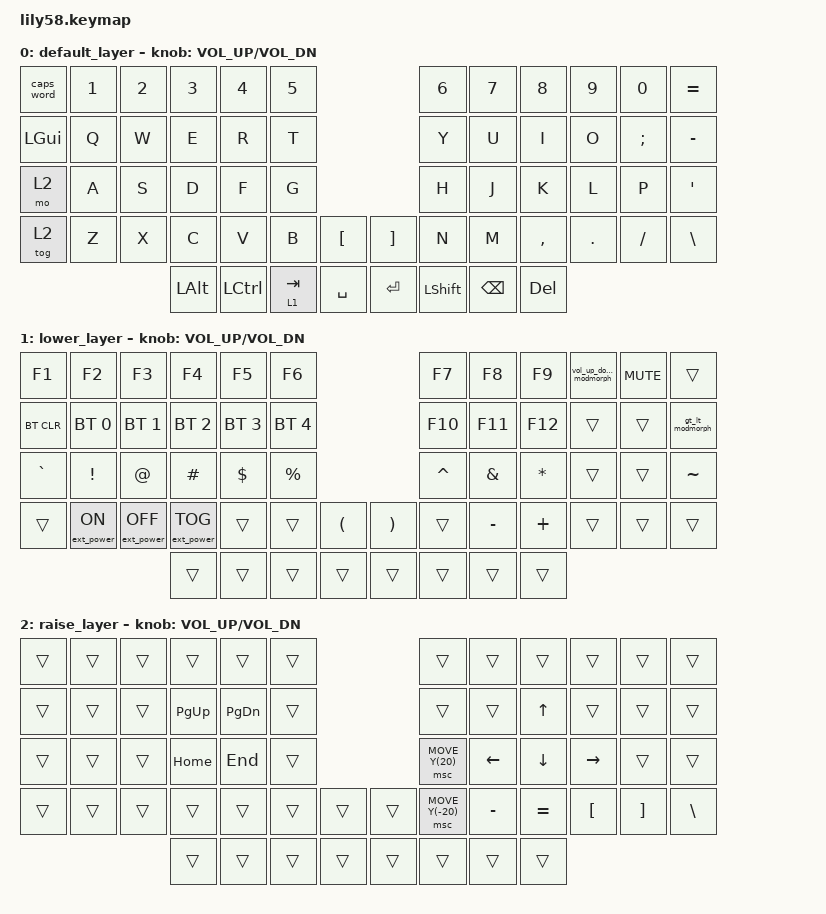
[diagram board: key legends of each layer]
/*
 * Copyright (c) 2020 The ZMK Contributors
 *
 * SPDX-License-Identifier: MIT
 */

#include <behaviors.dtsi>
#include <dt-bindings/zmk/bt.h>
#include <dt-bindings/zmk/ext_power.h>
#include <dt-bindings/zmk/keys.h>
#include <dt-bindings/zmk/pointing.h>

#define ZMK_POINTING_DEFAULT_SCRL_VAL 100

/ {
    combos {
        compatible = "zmk,combos";

        combo_esc {
            timeout-ms = <50>;
            key-positions = <0 1>;
            bindings = <&kp ESC>;
        };
    };

    behaviors {
        gt_lt_modmorph: gt_lt_modmorph {
            compatible = "zmk,behavior-mod-morph";
            label = "GT_LT_MODMORPH";
            bindings = <&kp GREATER_THAN>, <&kp LESS_THAN>;

            #binding-cells = <0>;
            mods = <(MOD_LSFT|MOD_RSFT)>;
        };

        kh_hs_tapdance: kh_hs_tapdance {
            compatible = "zmk,behavior-tap-dance";
            label = "KH_HS_TAPDANCE";
            #binding-cells = <0>;
            tapping-term-ms = <200>;
            bindings = <&kp LEFT_BRACKET>, <&kp RIGHT_BRACKET>;
        };

        hrm: hrm {
            compatible = "zmk,behavior-hold-tap";
            #binding-cells = <2>;
            flavor = "tap-preferred";
            tapping-term-ms = <200>;
            quick-tap-ms = <200>;
            require-prior-idle-ms = <125>;
            bindings = <&kp>, <&kp>;
        };

        vol_up_down_modmorph: vol_up_down_modmorph {
            compatible = "zmk,behavior-mod-morph";
            label = "VOL_UP_DOWN_MODMORPH";
            bindings = <&kp C_VOL_UP>, <&kp C_VOL_DN>;

            #binding-cells = <0>;
            mods = <(MOD_LSFT|MOD_RSFT)>;
        };
    };

    keymap {
        compatible = "zmk,keymap";

        default_layer {
            // ------------------------------------------------------------------------------------------------------------
            // |  ESC  |  1  |  2  |  3   |  4   |  5   |                   |  6   |  7    |  8    |  9   |   0   |   `   |
            // |  TAB  |  Q  |  W  |  E   |  R   |  T   |                   |  Y   |  U    |  I    |  O   |   P   |   -   |
            // |  CTRL |  A  |  S  |  D   |  F   |  G   |                   |  H   |  J    |  K    |  L   |   ;   |   '   |
            // | SHIFT |  Z  |  X  |  C   |  V   |  B   |   "["  |  |  "]"  |  N   |  M    |  ,    |  .   |   /   | SHIFT |
            //                     | ALT  | GUI  | LOWER|  SPACE |  | ENTER | RAISE| BSPC  | GUI   |

            bindings = <
&caps_word  &kp N1  &kp N2  &kp N3    &kp N4     &kp N5                            &kp N6      &kp N7    &kp N8      &kp N9   &kp N0    &kp EQUAL
&kp LGUI    &kp Q   &kp W   &kp E     &kp R      &kp T                             &kp Y       &kp U     &kp I       &kp O    &kp SEMI  &kp MINUS
&mo 2       &kp A   &kp S   &kp D     &kp F      &kp G                             &kp H       &kp J     &kp K       &kp L    &kp P     &kp SQT
&tog 2      &kp Z   &kp X   &kp C     &kp V      &kp B      &kp LBKT     &kp RBKT  &kp N       &kp M     &kp COMMA   &kp DOT  &kp FSLH  &kp BACKSLASH
                            &kp LALT  &kp LCTRL  &lt 1 TAB  &kp SPACE    &kp RET   &kp LSHIFT  &kp BSPC  &kp DELETE
            >;

            sensor-bindings = <&inc_dec_kp C_VOL_UP C_VOL_DN>;
        };

        lower_layer {
            // ------------------------------------------------------------------------------------------------------------
            // | BTCLR | BT1 | BT2 |  BT3 |  BT4 |  BT5 |                   |      |       |       |      |       |       |
            // |  F1   |  F2 |  F3 |  F4  |  F5  |  F6  |                   |  F7  |  F8   |  F9   |  F10 |  F11  |  F12  |
            // |   `   |  !  |  @  |  #   |  $   |  %   |                   |  ^   |  &    |  *    |  (   |   )   |   ~   |
            // |       |     |     |      |      |      |        |  |       |      |  _    |  +    |  {   |   }   |  "|"  |
            //                     |      |      |      |        |  |       |      |       |       |

            bindings = <
&kp F1      &kp F2            &kp F3             &kp F4             &kp F5        &kp F6                                                       &kp F7     &kp F8     &kp F9     &vol_up_down_modmorph  &kp C_MUTE  &trans
&bt BT_CLR  &bt BT_SEL 0      &bt BT_SEL 1       &bt BT_SEL 2       &bt BT_SEL 3  &bt BT_SEL 4                                                 &kp F10    &kp F11    &kp F12    &trans                 &trans      &gt_lt_modmorph
&kp GRAVE   &kp EXCL          &kp AT             &kp HASH           &kp DOLLAR    &kp PRCNT                                                    &kp CARET  &kp AMPS   &kp ASTRK  &trans                 &trans      &kp TILDE
&trans      &ext_power EP_ON  &ext_power EP_OFF  &ext_power EP_TOG  &trans        &trans        &kp LEFT_PARENTHESIS    &kp RIGHT_PARENTHESIS  &trans     &kp MINUS  &kp PLUS   &trans                 &trans      &trans
                                                 &trans             &trans        &trans        &trans                  &trans                 &trans     &trans     &trans
            >;

            sensor-bindings = <&inc_dec_kp C_VOL_UP C_VOL_DN>;
        };

        raise_layer {
            // ------------------------------------------------------------------------------------------------------------
            // |       |     |     |      |      |      |                   |      |       |       |      |       |       |
            // |   `   |  1  |  2  |  3   |  4   |  5   |                   |  6   |   7   |   8   |  9   |   0   |       |
            // |   F1  |  F2 |  F3 |  F4  |  F5  |  F6  |                   |      |   <-  |   v   |  ^   |  ->   |       |
            // |   F7  |  F8 |  F9 |  F10 |  F11 |  F12 |        |  |       |  +   |   -   |   =   |  [   |   ]   |   \   |
            //                     |      |      |      |        |  |       |      |       |       |

            bindings = <
&trans  &trans  &trans  &trans     &trans         &trans                    &trans            &trans     &trans        &trans           &trans    &trans
&trans  &trans  &trans  &kp PG_UP  &kp PAGE_DOWN  &trans                    &trans            &trans     &kp UP_ARROW  &trans           &trans    &trans
&trans  &trans  &trans  &kp HOME   &kp END        &trans                    &msc MOVE_Y(20)   &kp LEFT   &kp DOWN      &kp RIGHT_ARROW  &trans    &trans
&trans  &trans  &trans  &trans     &trans         &trans  &trans    &trans  &msc MOVE_Y(-20)  &kp MINUS  &kp EQUAL     &kp LBKT         &kp RBKT  &kp BSLH
                        &trans     &trans         &trans  &trans    &trans  &trans            &trans     &trans
            >;

            sensor-bindings = <&inc_dec_kp C_VOL_UP C_VOL_DN>;
        };
    };
};
